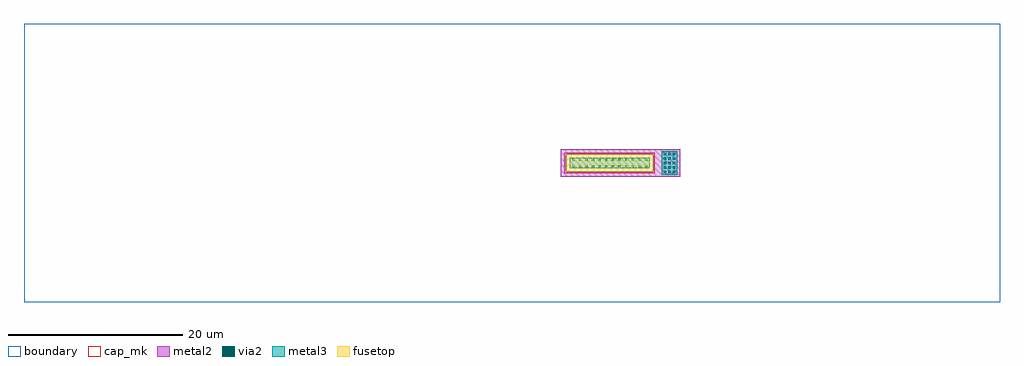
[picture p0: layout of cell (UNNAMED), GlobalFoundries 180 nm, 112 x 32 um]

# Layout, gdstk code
import gdstk
lib = gdstk.Library(unit=1e-6, precision=1e-09)
def R(c, l, rs):  # rectangles x0, y0, x1, y1
    for r in rs: c.add(gdstk.rectangle(r[:2], r[2:], *l))
def A(c, l, x, y, w, h, nx, ny, dx, dy):  # array of equal rectangles
    R(c, l, [(x+i*dx, y+j*dy, x+i*dx+w, y+j*dy+h) for i in range(nx) for j in range(ny)])
boundary = (0, 0)
metal2 = (36, 0)
via2 = (38, 0)
metal3 = (42, 0)
fusetop = (75, 0)
cap_mk = (117, 5)

c__unnamed_ = lib.new_cell('(UNNAMED)')
R(c__unnamed_, boundary, [(-68.45,-16,43.55,16)])
R(c__unnamed_, metal2, [(-6.845,-1.6,6.845,-1), (-6.845,-1,-6.245,1), (3.755,-1,6.845,1), (-6.845,1,6.845,1.6)])
A(c__unnamed_, via2, 4.985, -1.17, 0.26, 0.26, 3, 5, 0.52, 0.52)
A(c__unnamed_, via2, -5.555, -0.51, 0.26, 0.26, 12, 2, 0.76, 0.76)
R(c__unnamed_, metal3, [(4.735,-1.345,6.535,1.345), (-5.845,-0.6,3.355,0.6)])
R(c__unnamed_, fusetop, [(-6.245,-1,3.755,1)])
R(c__unnamed_, cap_mk, [(-6.445,-1.2,3.955,1.2)])

lib.write_gds('_UNNAMED_.gds')
